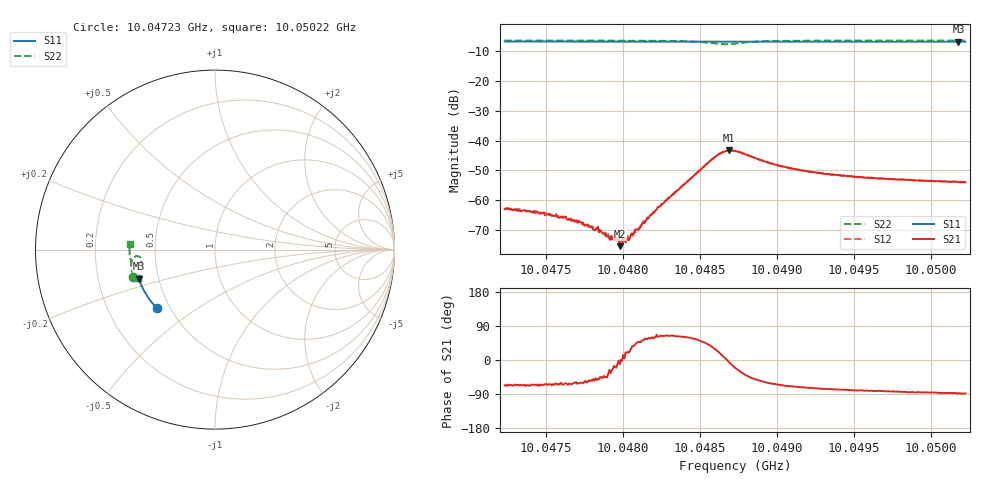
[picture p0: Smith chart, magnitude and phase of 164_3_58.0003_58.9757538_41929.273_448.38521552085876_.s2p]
#  HZ  S  RI  R  50.00
! Rohde & Schwarz Vector Network Analyzer
! Rohde-Schwarz,ZNB20-2Port,1311601062101988,3.16
! Created: UTC 3/21/2024, 12:57:40 AM
! freq[Hz]  re:S11  im:S11  re:S21  im:S21  re:S12  im:S12  re:S22  im:S22
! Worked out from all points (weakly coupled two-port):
!   401 points, 10.04723 GHz to 10.05022 GHz, reference 50 ohm
!   highest |S21| = -43.28 dB at 10.04869 GHz (marker M1); lowest = -75.4 dB at 10.04798 GHz (marker M2)
!   lowest |S11| = -6.8 dB at 10.05018 GHz (marker M3), VSWR 2.67, Z = 19.3 - j7.87 ohm
!   |S11| at or under -10 dB: nowhere
!   |S22| runs from -7.7 to -6.4 dB; largest |S21 - S12| = 0.00047
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1.0047233e10  -0.3246 -0.3264  0.000282 -0.000651  0.000354 -0.00065  -0.4547 -0.1507
1.0047405e10  -0.3321 -0.3181  0.000271 -0.00058  0.000298 -0.000587  -0.458 -0.1391
1.004757e10  -0.3395 -0.3099  0.00025 -0.000475  0.000287 -0.000519  -0.4609 -0.1279
1.0047734e10  -0.3465 -0.3013  0.000209 -0.000364  0.00022 -0.000332  -0.4633 -0.1158
1.0047846e10  -0.3511 -0.2957  0.000183 -0.000225  0.000245 -0.000207  -0.4647 -0.1074
1.0047906e10  -0.3535 -0.2926  0.000198 -0.000142  0.000212 -0.000167  -0.4654 -0.1027
1.0047958e10  -0.3557 -0.2898  0.000208 -7.69e-05  0.000219 -5.45e-05  -0.4658 -0.0985
1.0047981e10  -0.3566 -0.2886  0.000167 -3.26e-05  0.000195 -1.22e-05  -0.4662 -0.0968
1.0047996e10  -0.3571 -0.2878  0.00019 -6.87e-06  0.000209 1.85e-05  -0.4663 -0.0953
1.0048033e10  -0.3587 -0.2859  0.000203 7.98e-05  0.000233 0.000102  -0.4664 -0.0924
1.0048056e10  -0.3596 -0.2847  0.000236 0.000147  0.000206 0.000133  -0.4665 -0.0905
1.0048071e10  -0.36 -0.2839  0.000217 0.00016  0.000223 0.000177  -0.4667 -0.0891
1.0048235e10  -0.3664 -0.2751  0.000368 0.000683  0.000316 0.000712  -0.4664 -0.0737
1.0048579e10  -0.3789 -0.256  0.00396 0.00276  0.00383 0.00301  -0.431 -0.0366
1.0048639e10  -0.3807 -0.2527  0.00601 0.00158  0.00596 0.00197  -0.4132 -0.0472
1.0048691e10  -0.3824 -0.25  0.00681 -0.000764  0.00686 -0.000296  -0.4096 -0.0674
1.0048729e10  -0.3838 -0.248  0.00631 -0.00236  0.0065 -0.00193  -0.4169 -0.0796
1.0048998e10  -0.3931 -0.2329  0.0017 -0.00352  0.0019 -0.00344  -0.4647 -0.0671
1.004923e10  -0.4004 -0.2194  0.000851 -0.00286  0.000998 -0.00283  -0.4728 -0.0441
1.0049731e10  -0.4145 -0.1893  0.000283 -0.00223  0.0004 -0.00224  -0.4767 -0.00469
1.0050179e10  -0.4252 -0.1619  8.71e-05 -0.00202  0.000162 -0.00204  -0.476 0.0271
1.0050224e10  -0.4263 -0.1592  6.13e-05 -0.002  0.000174 -0.00199  -0.4758 0.0303
